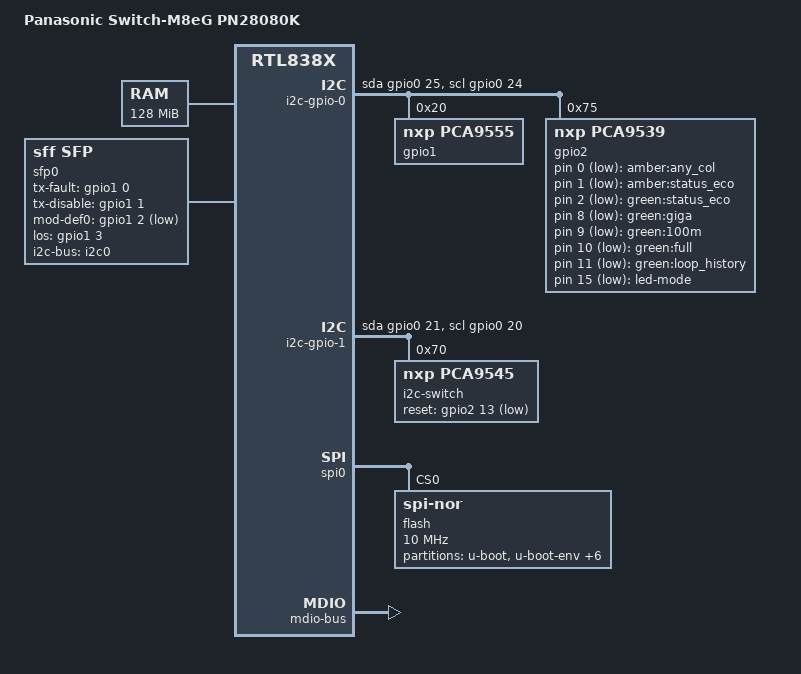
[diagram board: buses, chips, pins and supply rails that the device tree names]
// SPDX-License-Identifier: GPL-2.0-or-later OR MIT

#include "rtl838x.dtsi"

#include <dt-bindings/input/input.h>
#include <dt-bindings/gpio/gpio.h>

/ {
	compatible = "panasonic,m8eg-pn28080k", "realtek,rtl838x-soc";
	model = "Panasonic Switch-M8eG PN28080K";

	aliases {
		led-boot = &led_status_eco_green;
		led-failsafe = &led_status_eco_amber;
		led-running = &led_status_eco_green;
		led-upgrade = &led_status_eco_green;
	};

	chosen {
		bootargs = "console=ttyS0,9600";
	};

	memory@0 {
		device_type = "memory";
		reg = <0x0 0x8000000>;
	};

	leds {
		compatible = "gpio-leds";

		any_collision {
			label = "amber:any_col";
			gpios = <&gpio2 0 GPIO_ACTIVE_LOW>;
		};

		led_status_eco_amber: status_eco_amber {
			label = "amber:status_eco";
			gpios = <&gpio2 1 GPIO_ACTIVE_LOW>;
		};

		led_status_eco_green: status_eco_green {
			label = "green:status_eco";
			gpios = <&gpio2 2 GPIO_ACTIVE_LOW>;
		};

		giga {
			label = "green:giga";
			gpios = <&gpio2 8 GPIO_ACTIVE_LOW>;
		};

		100m {
			label = "green:100m";
			gpios = <&gpio2 9 GPIO_ACTIVE_LOW>;
		};

		full_duplex {
			label = "green:full";
			gpios = <&gpio2 10 GPIO_ACTIVE_LOW>;
		};

		loop_history {
			label = "green:loop_history";
			gpios = <&gpio2 11 GPIO_ACTIVE_LOW>;
		};
	};

	keys {
		compatible = "gpio-keys-polled";
		poll-interval = <20>;

		led_mode {
			label = "led-mode";
			gpios = <&gpio2 15 GPIO_ACTIVE_LOW>;
			linux,code = <BTN_0>;
		};
	};

	/* Switch-M8eG PN28080K has no RTL8231 chip */
	/delete-node/ rtl8231-gpio;

	i2c-gpio-0 {
		compatible = "i2c-gpio";
		/* SoC GPIO 0 */
		scl-gpios = <&gpio0 24 (GPIO_ACTIVE_HIGH | GPIO_OPEN_DRAIN)>;
		/* SoC GPIO 1 */
		sda-gpios = <&gpio0 25 (GPIO_ACTIVE_HIGH | GPIO_OPEN_DRAIN)>;
		i2c-gpio,delay-us = <2>;
		#address-cells = <1>;
		#size-cells = <0>;

		gpio1: gpio@20 {
			compatible = "nxp,pca9555";
			reg = <0x20>;
			gpio-controller;
			#gpio-cells = <2>;
		};

		gpio2: gpio@75 {
			compatible = "nxp,pca9539";
			reg = <0x75>;
			gpio-controller;
			#gpio-cells = <2>;

			/* GPIO14 (IO1_6): 6x Shift Register (port LED) */
			portled_sregister_reset {
				gpio-hog;
				gpios = <14 GPIO_ACTIVE_HIGH>;
				output-high;
				line-name = "portled-sregister-reset";
			};
		};
	};

	i2c-gpio-1 {
		compatible = "i2c-gpio";
		/* SoC GPIO 12 */
		scl-gpios = <&gpio0 20 (GPIO_ACTIVE_HIGH | GPIO_OPEN_DRAIN)>;
		/* SoC GPIO 13 */
		sda-gpios = <&gpio0 21 (GPIO_ACTIVE_HIGH | GPIO_OPEN_DRAIN)>;
		i2c-gpio,delay-us = <2>;
		#address-cells = <1>;
		#size-cells = <0>;

		i2c-switch@70 {
			compatible = "nxp,pca9545";
			reset-gpios = <&gpio2 13 GPIO_ACTIVE_LOW>;
			reg = <0x70>;
			#address-cells = <1>;
			#size-cells = <0>;

			/* for port 9 SFP */
			i2c0: i2c@0 {
				#address-cells = <1>;
				#size-cells = <0>;
				reg = <0>;
			};
		};
	};

	sfp0: sfp-p9 {
		compatible = "sff,sfp";
		i2c-bus = <&i2c0>;
		tx-fault-gpio = <&gpio1 0 GPIO_ACTIVE_HIGH>;
		tx-disable-gpio = <&gpio1 1 GPIO_ACTIVE_HIGH>;
		mod-def0-gpio = <&gpio1 2 GPIO_ACTIVE_LOW>;
		los-gpio = <&gpio1 3 GPIO_ACTIVE_HIGH>;
	};
};

&gpio0 {
	indirect-access-bus-id = <0>;
};

&spi0 {
	status = "okay";

	flash@0 {
		compatible = "jedec,spi-nor";
		reg = <0>;
		spi-max-frequency = <10000000>;

		partitions {
			compatible = "fixed-partitions";
			#address-cells = <1>;
			#size-cells = <1>;

			partition@0 {
				label = "u-boot";
				reg = <0x0 0x80000>;
				read-only;
			};

			partition@80000 {
				label = "u-boot-env";
				reg = <0x80000 0x10000>;
			};

			partition@90000 {
				label = "u-boot-env2";
				reg = <0x90000 0x10000>;
			};

			partition@a0000 {
				label = "sysinfo";
				reg = <0xa0000 0x60000>;
				read-only;
			};

			/*
			 * 0x100000 - 0x1DFFFFF
			 * Filesystem area for runtime images and
			 * configuration files in stock firmware
			 */

			/*
			 * re-created filesystem area, 2x stock images
			 * are included with checksum files
			 */
			partition@100000 {
				label = "fs_reserved";
				reg = <0x100000 0xd00000>;
			};

			/* free area for OpenWrt */
			partition@e00000 {
				compatible = "denx,uimage";
				label = "firmware";
				reg = <0xe00000 0x1000000>;
			};

			partition@1e00000 {
				label = "vlog_data";
				reg = <0x1e00000 0x100000>;
				read-only;
			};

			partition@1f00000 {
				label = "elog_data";
				reg = <0x1f00000 0x100000>;
				read-only;
			};
		};
	};
};

&ethernet0 {
	mdio-bus {
		compatible = "realtek,rtl838x-mdio";
		regmap = <&ethernet0>;
		#address-cells = <1>;
		#size-cells = <0>;

		INTERNAL_PHY(8)
		INTERNAL_PHY(9)
		INTERNAL_PHY(10)
		INTERNAL_PHY(11)
		INTERNAL_PHY(12)
		INTERNAL_PHY(13)
		INTERNAL_PHY(14)
		INTERNAL_PHY(15)

		INTERNAL_PHY(24)
	};
};

&switch0 {
	ports {
		#address-cells = <1>;
		#size-cells = <0>;

		SWITCH_PORT(8, 1, internal)
		SWITCH_PORT(9, 2, internal)
		SWITCH_PORT(10, 3, internal)
		SWITCH_PORT(11, 4, internal)
		SWITCH_PORT(12, 5, internal)
		SWITCH_PORT(13, 6, internal)
		SWITCH_PORT(14, 7, internal)
		SWITCH_PORT(15, 8, internal)

		port@24 {
			reg = <24>;
			label = "lan9";
			phy-mode = "1000base-x";
			phy-handle = <&phy24>;
			managed = "in-band-status";
			sfp = <&sfp0>;
		};

		port@28 {
			ethernet = <&ethernet0>;
			reg = <28>;
			phy-mode = "internal";

			fixed-link {
				speed = <1000>;
				full-duplex;
			};
		};
	};
};
